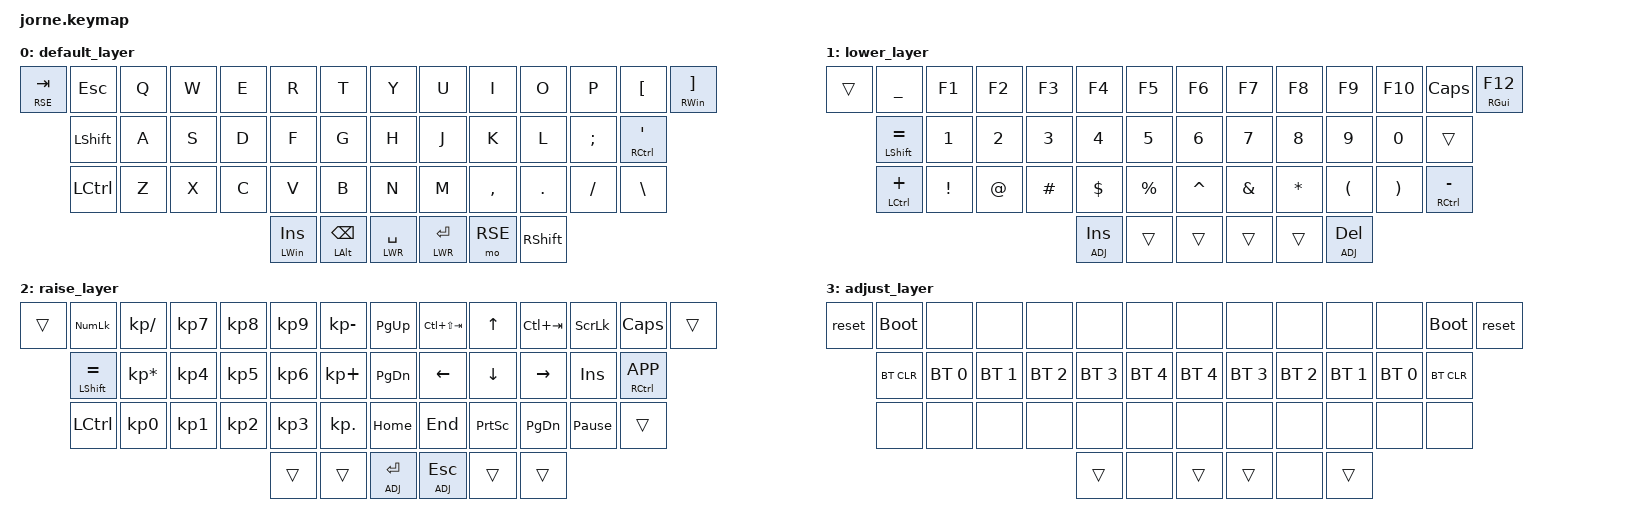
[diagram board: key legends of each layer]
/*
 * Copyright (c) 2020 The ZMK Contributors
 *
 * SPDX-License-Identifier: MIT
 */

#include <behaviors.dtsi>
#include <dt-bindings/zmk/keys.h>
#include <dt-bindings/zmk/bt.h>

#define DEF 0
#define LWR 1
#define RSE 2
#define ADJ 3

/ {
        keymap {
                compatible = "zmk,keymap";

        default_layer {
// -----------------------------------------------------------------------------------------
// |  GUI |   ~  |  Q  |  W  |  E  |  R  |  T  |   |  Y  |  U   |  I  |  O  |  P  |  [   | GUI/] |
//        | CTRL |  A  |  S  |  D  |  F  |  G  |   |  H  |  J   |  K  |  L  |  ;  |CTRL/'|
//        | LALT |  Z  |  X  |  C  |  V  |  B  |   |  N  |  M   |  ,  |  .  |  /  | RALT |
//                           | RSE | SPC | LWR |   | LWR | BKSP | RSE |
                        bindings = <
   &lt RSE TAB &kp ESC &kp Q &kp W &kp E &kp R &kp T &kp Y           &kp U  &kp I &kp O &kp P &kp LBKT &mt RWIN RBKT
            &kp LSHFT &kp A &kp S &kp D &kp F &kp G &kp H        &kp J  &kp K &kp L &kp SEMI &mt RCTRL SQT
            &kp LCTRL  &kp Z &kp X &kp C &kp V &kp B &kp N           &kp M  &kp COMMA &kp DOT &kp FSLH &kp BSLH
                         &mt LWIN INS &mt LALT BSPC &lt LWR SPACE   &lt LWR RET &mo RSE &kp RSHIFT
                        >;
                };
                lower_layer {
// -----------------------------------------------------------------------------------------
// |     |  _  |  F1 |  F2 |  F3 |  F4 |  F5 |   |  F6 |  F7 |  F8 |  F9 | F10 | F11 | F12 |
//       |  =  |  1  |  2  |  3  |  4  |  5  |   |  6  |  7  |  8  |  9  |  0  |     |
//       |  +  |  !  |  @  |  #  |  $  |  %  |   |  ^  |  &  |  *  |  (  |  )  |  -  |
//                    | GUI |     | SPC |   | ENT |     | ALT |
                        bindings = <
   &trans &kp UNDER &kp F1  &kp F2 &kp F3   &kp F4   &kp F5           &kp F6    &kp F7   &kp F8   &kp F9   &kp F10  &kp CAPS &mt RGUI F12
          &mt LSHFT EQUAL &kp N1   &kp N2 &kp N3   &kp N4   &kp N5           &kp N6    &kp N7   &kp N8   &kp N9   &kp N0   &trans
          &mt LCTRL PLUS &kp EXCL &kp AT &kp HASH &kp DLLR &kp PRCNT        &kp CARET &kp AMPS &kp STAR &kp LPAR &kp RPAR &mt RCTRL MINUS
                                              &lt ADJ INS &trans &trans   &trans &trans &lt ADJ DEL
                        >;
                };

                raise_layer {
// -----------------------------------------------------------------------------------------
// |     | NMLK |  /  |  7  |  8  |  9  |  -  |   | VOLU| HOME| PRSC| PGUP| SCLK| CLCK|     |
//       | CTRL |  *  |  4  |  5  |  6  |  +  |   | MUT | LEFT|  UP | RGHT| INS | APP |
//       |      |  0  |  1  |  2  |  3  |  .  |   | VOLD| END | DOWN| PGDN| PAUS|     |
//                          |     |     | ADJ |   | ADJ |     |     |
                        bindings = <
   &trans &kp KP_NUM      &kp KP_SLASH    &kp KP_N7 &kp KP_N8 &kp KP_N9 &kp KP_MINUS        &kp PG_UP &kp LC(LS(TAB)) &kp UP &kp LC(TAB) &kp SLCK &kp CAPS &trans
          &mt LSHFT EQUAL &kp KP_MULTIPLY &kp KP_N4 &kp KP_N5 &kp KP_N6 &kp KP_PLUS         &kp PG_DN  &kp LEFT &kp DOWN   &kp RIGHT &kp INS  &mt RCTRL K_APP
        &kp LCTRL &kp KP_N0 &kp KP_N1 &kp KP_N2 &kp KP_N3 &kp KP_DOT                        &kp HOME &kp END  &kp PSCRN  &kp PG_DN &kp PAUSE_BREAK &trans
                                                           &trans &trans &lt ADJ RET   &lt ADJ ESC &trans &trans
                        >;
                };
                adjust_layer {
// -----------------------------------------------------------------------------------------
// | RST | BLDR |     |     |     |     |     |   |     |     |     |     |     | BLDR | RST |
//       | BTCLR| BT0 | BT1 | BT2 | BT3 | BT4 |   | BT4 | BT3 | BT2 | BT1 | BT0 | BTCLR|
//       |      |     |     |     |     |     |   |     |     |     |     |     |      |
//                          |     |     |     |   |     |     |     |
                        bindings = <
   &reset &bootloader  &none        &none        &none        &none        &none              &none        &none        &none        &none        &none         &bootloader &reset
          &bt BT_CLR   &bt BT_SEL 0 &bt BT_SEL 1 &bt BT_SEL 2 &bt BT_SEL 3 &bt BT_SEL 4       &bt BT_SEL 4 &bt BT_SEL 3 &bt BT_SEL 2 &bt BT_SEL 1 &bt BT_SEL 0  &bt BT_CLR
        &none        &none        &none        &none        &none        &none              &none        &none        &none        &none        &none         &none
                                                                    &trans &none &trans   &trans &none &trans
                        >;
                };
        };
};
